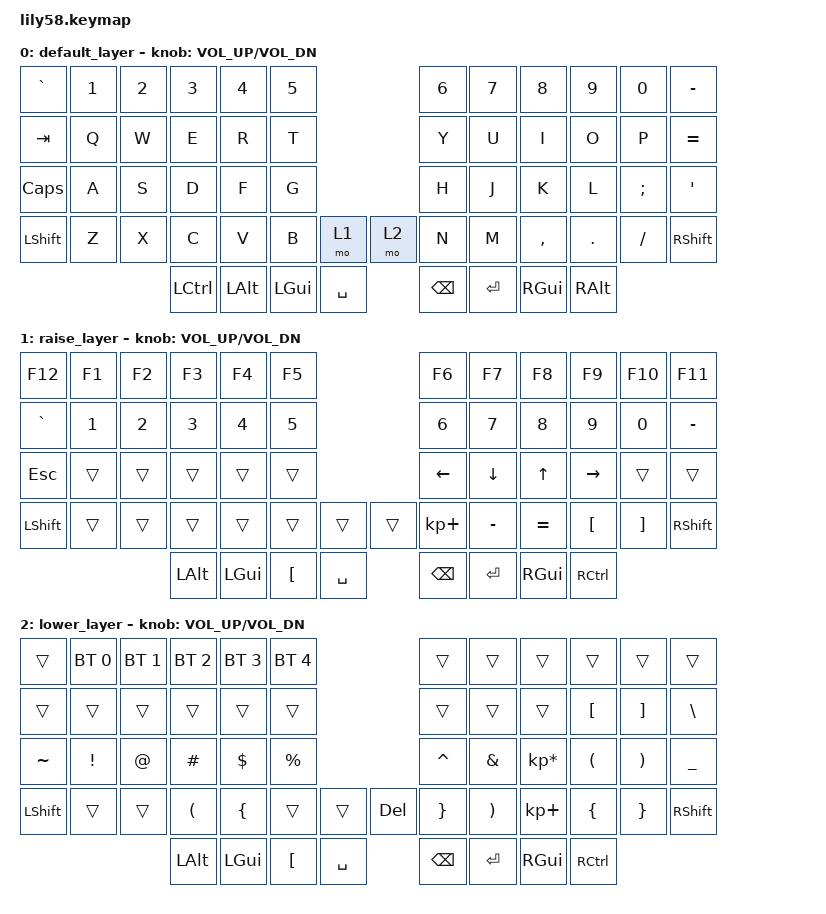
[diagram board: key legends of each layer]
/*
 * Copyright (c) 2020 The ZMK Contributors
 *
 * SPDX-License-Identifier: MIT
 */

#include <behaviors.dtsi>
#include <dt-bindings/zmk/keys.h>
#include <dt-bindings/zmk/bt.h>
#include <dt-bindings/zmk/ext_power.h>

/ {
    // Combo keys are a way to combine multiple keypresses to output a different key.
    combos {
        compatible = "zmk,combos";

        combo_clear_bluetooth {
            timeout-ms = <50>; // Press all the below keys within 50ms to activate mapping
            key-positions = <52 42 0>; // Press 52=LOWER, 42=[, 0=tilde
            bindings = <&bt BT_CLR>; // activate clear bluetooth bindings for current channel
        };
    };

    keymap {
        compatible = "zmk,keymap";

        default_layer {
            // ------------------------------------------------------------------------------------------------------------
            // |   `      |  1  |  2  |  3   |  4   |  5   |                   |  6   |  7    |  8    |  9   |   0   |   -   |
            // |  TAB     |  Q  |  W  |  E   |  R   |  T   |                   |  Y   |  U    |  I    |  O   |   P   |   =   |
            // | CAPS    |  A  |  S  |  D   |  F   |  G   |                   |  H   |  J    |  K    |  L   |   ;   |   '   |
            // | SHIFT    |  Z  |  X  |  C   |  V   |  B   | Lower  |  | raise |  N   |  M    |  ,    |  .   |   /   | SHIFT |
            //                        | CTRL | ALT  | CMD  |  SPACE |  | BSPC  | ENTER| GUI   | ALT   |

            bindings = <
      &kp GRAVE  &kp N1  &kp N2    &kp N3     &kp N4    &kp N5                        &kp N6  &kp N7     &kp N8    &kp N9    &kp N0    &kp MINUS
      &kp TAB    &kp Q   &kp W     &kp E      &kp R     &kp T                         &kp Y   &kp U      &kp I     &kp O     &kp P     &kp EQUAL
     &kp CAPS  &kp A   &kp S     &kp D      &kp F     &kp G                         &kp H   &kp J      &kp K     &kp L     &kp SEMI  &kp SQT
     &kp LSHFT   &kp Z   &kp X     &kp C      &kp V     &kp B  &mo 1     &mo 2  &kp N   &kp M      &kp COMMA &kp DOT   &kp FSLH  &kp RSHFT
                                   &kp LCTRL  &kp LALT &kp LGUI  &kp SPACE    &kp BSPC  &kp RET &kp RGUI     &kp RALT
            >;

            sensor-bindings = <&inc_dec_kp C_VOL_UP C_VOL_DN>;
        };

        raise_layer {
            // ------------------------------------------------------------------------------------------------------------
            // |  F12    |  F1 |  F2 |  F3  |  F4  |  F5  |                   |  F6  |   F7  |   F8  |  F9  |  F10  |  F11  |
            // |   `     |  1  |  2  |  3   |  4   |  5   |                   |  6   |   7   |   8   |  9   |   0   |   -   |
            // |     ESC |     |     |      |      |      |                   |  <-  |   ^   |   v   |  ->  |       |       |
            // | SHIFT   |     |     |      |      |      |        |  |       |  +   |   -   |   =   |  [   |   ]   |   \   |
            //                       | CTRL | ALT  | CMD  |  SPACE |  | BSPC  | ENTER| GUI   | ALT   |

            bindings = <
      &kp F12  &kp F1  &kp F2  &kp F3  &kp F4  &kp F5                   &kp F6       &kp F7     &kp F8     &kp F9    &kp F10   &kp F11
    &kp GRAVE  &kp N1  &kp N2  &kp N3  &kp N4  &kp N5                   &kp N6       &kp N7     &kp N8     &kp N9    &kp N0    &kp MINUS
&kp ESC  &trans  &trans  &trans  &trans  &trans                   &kp LEFT     &kp DOWN   &kp UP     &kp RIGHT &trans    &trans
   &kp LSHIFT  &trans  &trans  &trans  &trans  &trans  &trans  &trans   &kp KP_PLUS  &kp MINUS  &kp EQUAL  &kp LBKT  &kp RBKT  &kp RIGHT_SHIFT
                               &kp LALT   &kp LGUI &kp LBKT  &kp SPACE    &kp BSPC  &kp RET &kp RGUI     &kp RCTRL
            >;

            sensor-bindings = <&inc_dec_kp C_VOL_UP C_VOL_DN>;
        };

        lower_layer {
            // ------------------------------------------------------------------------------------------------------------
            // |                | BT1     | BT2    |  BT3 |  BT4  |  BT5 |                    |      |       |       |      |       |       |
            // |                |         |        |      |       |      |                    |      |       |       |      |       |   \   |
            // |   ~            |  !      |  @     |  #   |  $    |  %   |                    |  ^   |  &    |  *    |  (   |   )   |   _   |
            // | SHIFT          |  EP_ON  | EP_OFF |      |  (    |  {   |       |  |   DEL   |  }   |  )    |  +    |  {   |   }   | SHIFT |
            //                                     | CTRL | ALT  | CMD  |  SPACE |  | BSPC  | ENTER| GUI   | ALT   |
            bindings = <
    &trans &bt BT_SEL 0  &bt BT_SEL 1  &bt BT_SEL 2  &bt BT_SEL 3  &bt BT_SEL 4                  &trans     &trans      &trans          &trans            &trans             &trans
    &trans            &trans        &trans        &trans        &trans        &trans                        &trans     &trans      &trans          &kp LEFT_BRACKET  &kp RIGHT_BRACKET  &kp BSLH
    &kp TILDE         &kp EXCL      &kp AT        &kp HASH      &kp DOLLAR    &kp PRCNT                     &kp CARET  &kp AMPS    &kp KP_MULTIPLY &kp LPAR          &kp RPAR           &kp UNDER
    &kp LSHIFT        &trans        &trans        &kp LPAR      &kp LBRC      &trans    &trans    &kp DEL   &kp RBRC   &kp RPAR    &kp KP_PLUS     &kp LBRC          &kp RBRC           &kp RSHFT
                                                 &kp LALT   &kp LGUI &kp LBKT  &kp SPACE    &kp BSPC  &kp RET &kp RGUI     &kp RCTRL
            >;   &trans    
            >;

            sensor-bindings = <&inc_dec_kp C_VOL_UP C_VOL_DN>;
        };
    };
};
